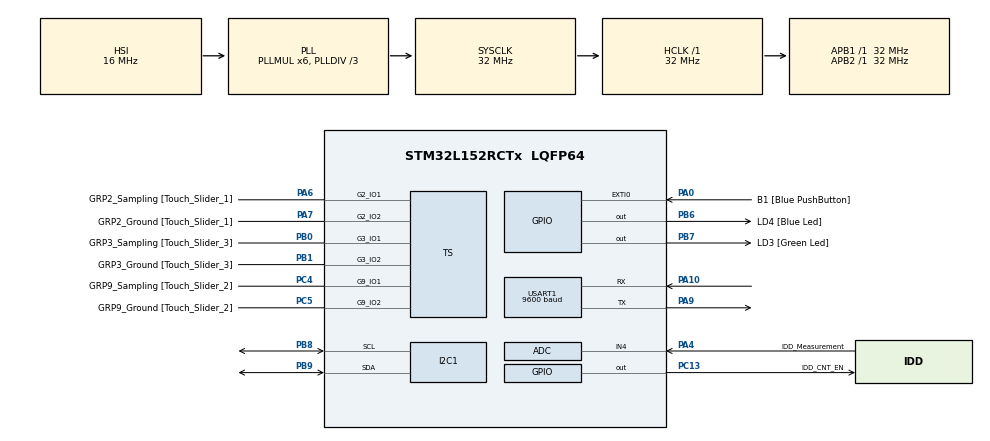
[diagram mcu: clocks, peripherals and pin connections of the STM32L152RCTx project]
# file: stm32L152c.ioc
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ADC.Channel=ADC_CHANNEL_4
ADC.Channel-0\#ChannelRegularConversion=ADC_CHANNEL_4
ADC.Channel-IN4=ADC_CHANNEL_4
ADC.ExternalTrigConv-0\#ChannelRegularConversion=ADC_SOFTWARE_START
ADC.Rank-0\#ChannelRegularConversion=1
ADC.SamplingTime-0\#ChannelRegularConversion=ADC_SAMPLETIME_4CYCLES
Mcu.Family=STM32L1
Mcu.Name=STM32L152RCTx
Mcu.Package=LQFP64
NVIC.PriorityGroup=NVIC_PRIORITYGROUP_0
PA0-WKUP1.GPIO_Label=B1 [Blue PushButton]
PA0-WKUP1.GPIO_ModeDefaultEXTI=GPIO_MODE_EVT_RISING
PA0-WKUP1.GPIO_PuPd=GPIO_NOPULL
PA0-WKUP1.Signal=GPXTI0
PA10.Mode=Asynchronous
PA10.Signal=USART1_RX
PA13.GPIO_Label=SWDIO
PA13.Mode=Serial_Wire
PA13.Signal=SYS_JTMS-SWDIO
PA14.GPIO_Label=SWCLK
PA14.Mode=Serial_Wire
PA14.Signal=SYS_JTCK-SWCLK
PA4.GPIO_Label=IDD_Measurement
PA4.GPIO_Mode=GPIO_MODE_ANALOG
PA4.GPIO_PuPd=GPIO_NOPULL
PA4.Mode=IN4
PA4.Signal=ADC_IN4
PA6.GPIO_Label=GRP2_Sampling [Touch_Slider_1]
PA6.Mode=G2_IO1-Sampling
PA6.Signal=TS_G2_IO1
PA7.GPIO_Label=GRP2_Ground [Touch_Slider_1]
PA7.Mode=G2_IO2-Channel
PA7.Signal=TS_G2_IO2
PA9.Mode=Asynchronous
PA9.Signal=USART1_TX
PB0.GPIO_Label=GRP3_Sampling [Touch_Slider_3]
PB0.Mode=G3_IO1-Sampling
PB0.Signal=TS_G3_IO1
PB1.GPIO_Label=GRP3_Ground [Touch_Slider_3]
PB1.Mode=G3_IO2-Channel
PB1.Signal=TS_G3_IO2
PB6.GPIO_Label=LD4 [Blue Led]
PB6.GPIO_ModeDefaultOutputPP=GPIO_MODE_OUTPUT_PP
PB6.GPIO_PuPd=GPIO_NOPULL
PB6.GPIO_Speed=GPIO_SPEED_FREQ_LOW
PB6.Signal=GPIO_Output
PB7.GPIO_Label=LD3 [Green Led]
PB7.GPIO_ModeDefaultOutputPP=GPIO_MODE_OUTPUT_PP
PB7.GPIO_PuPd=GPIO_NOPULL
PB7.GPIO_Speed=GPIO_SPEED_FREQ_LOW
PB7.Signal=GPIO_Output
PB8.Mode=I2C
PB8.Signal=I2C1_SCL
PB9.Mode=I2C
PB9.Signal=I2C1_SDA
PC13-WKUP2.GPIO_Label=IDD_CNT_EN
PC13-WKUP2.Signal=GPIO_Output
PC14-OSC32_IN.GPIO_Label=PC14-OSC32_IN
PC14-OSC32_IN.Mode=LSE-External-Oscillator
PC14-OSC32_IN.Signal=RCC_OSC32_IN
PC15-OSC32_OUT.GPIO_Label=PC15-OSC32_OUT
PC15-OSC32_OUT.Mode=LSE-External-Oscillator
PC15-OSC32_OUT.Signal=RCC_OSC32_OUT
PC4.GPIO_Label=GRP9_Sampling [Touch_Slider_2]
PC4.Mode=G9_IO1-Sampling
PC4.Signal=TS_G9_IO1
PC5.GPIO_Label=GRP9_Ground [Touch_Slider_2]
PC5.Mode=G9_IO2-Channel
PC5.Signal=TS_G9_IO2
ProjectManager.HeapSize=0x200
ProjectManager.StackSize=0x400
ProjectManager.TargetToolchain=SW4STM32
RCC.AHBFreq_Value=32000000
RCC.APB1Freq_Value=32000000
RCC.APB1TimFreq_Value=32000000
RCC.APB2Freq_Value=32000000
RCC.APB2TimFreq_Value=32000000
RCC.HCLKFreq_Value=32000000
RCC.HSE_VALUE=8000000
RCC.HSI_VALUE=16000000
RCC.MSI_VALUE=2097000
RCC.PLLDIV=RCC_PLL_DIV3
RCC.PLLMUL=RCC_PLL_MUL6
RCC.RTCClockSelectionVirtual=RCC_RTCCLKSOURCE_LSE
RCC.SYSCLKFreq_VALUE=32000000
RCC.SYSCLKSource=RCC_SYSCLKSOURCE_PLLCLK
RCC.USBOutput=48000000
RCC.VCOOutputFreq_Value=96000000
USART1.BaudRate=9600
board=STM32L152C-DISCO

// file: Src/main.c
/**
  ******************************************************************************
  * File Name          : main.c
  * Description        : Main program body
  ******************************************************************************
  *
  * COPYRIGHT(c) 2016 STMicroelectronics
  *
  * Redistribution and use in source and binary forms, with or without modification,
  * are permitted provided that the following conditions are met:
  *   1. Redistributions of source code must retain the above copyright notice,
  *      this list of conditions and the following disclaimer.
  *   2. Redistributions in binary form must reproduce the above copyright notice,
  *      this list of conditions and the following disclaimer in the documentation
  *      and/or other materials provided with the distribution.
  *   3. Neither the name of STMicroelectronics nor the names of its contributors
  *      may be used to endorse or promote products derived from this software
  *      without specific prior written permission.
  *
  * THIS SOFTWARE IS PROVIDED BY THE COPYRIGHT HOLDERS AND CONTRIBUTORS "AS IS"
  * AND ANY EXPRESS OR IMPLIED WARRANTIES, INCLUDING, BUT NOT LIMITED TO, THE
  * IMPLIED WARRANTIES OF MERCHANTABILITY AND FITNESS FOR A PARTICULAR PURPOSE ARE
  * DISCLAIMED. IN NO EVENT SHALL THE COPYRIGHT HOLDER OR CONTRIBUTORS BE LIABLE
  * FOR ANY DIRECT, INDIRECT, INCIDENTAL, SPECIAL, EXEMPLARY, OR CONSEQUENTIAL
  * DAMAGES (INCLUDING, BUT NOT LIMITED TO, PROCUREMENT OF SUBSTITUTE GOODS OR
  * SERVICES; LOSS OF USE, DATA, OR PROFITS; OR BUSINESS INTERRUPTION) HOWEVER
  * CAUSED AND ON ANY THEORY OF LIABILITY, WHETHER IN CONTRACT, STRICT LIABILITY,
  * OR TORT (INCLUDING NEGLIGENCE OR OTHERWISE) ARISING IN ANY WAY OUT OF THE USE
  * OF THIS SOFTWARE, EVEN IF ADVISED OF THE POSSIBILITY OF SUCH DAMAGE.
  *
  ******************************************************************************
  */
#include "stm32l1xx_hal.h"

/* USER CODE BEGIN Includes */
#include <app1.h>
#include "discover_functions.h"
/* USER CODE END Includes */

ADC_HandleTypeDef hadc;

I2C_HandleTypeDef hi2c1;

UART_HandleTypeDef huart1;

/* USER CODE BEGIN PV */
/* Private variables ---------------------------------------------------------*/

/* USER CODE END PV */

void SystemClock_Config(void);
void Error_Handler(void);
static void MX_GPIO_Init(void);
static void MX_ADC_Init(void);
static void MX_TS_Init(void);
static void MX_USART1_UART_Init(void);
static void MX_I2C1_Init(void);

/* USER CODE BEGIN PFP */
/* Private function prototypes -----------------------------------------------*/

/* USER CODE END PFP */

/* USER CODE BEGIN 0 */
void _exit(int a){
	while(1){};
}

#include <errno.h>
#include <sys/types.h>
extern caddr_t _end, _stackend;

caddr_t _sbrk(int nbytes) {
    static caddr_t heap_ptr = NULL;
    caddr_t base;
    if (heap_ptr == NULL) {
        heap_ptr = (caddr_t) & _end;
    }
    if ((caddr_t) & _stackend > heap_ptr + nbytes) {
        base = heap_ptr;
        heap_ptr += nbytes;
        return (base);
    } else {
        errno = ENOMEM;
        return ((caddr_t) - 1);
    }

}
/* USER CODE END 0 */

int main(void)
{

  /* MCU Configuration----------------------------------------------------------*/

  /* Reset of all peripherals, Initializes the Flash interface and the Systick. */
  HAL_Init();

  /* Configure the system clock */
  SystemClock_Config();

  /* Initialize all configured peripherals */
  MX_GPIO_Init();
  MX_ADC_Init();
  MX_TS_Init();
  MX_USART1_UART_Init();
  MX_I2C1_Init();

  /* Infinite loop */
  /* USER CODE BEGIN WHILE */
  static uint32_t percent_value = 0;
  while (1)
  {
    app1_main(&huart1);

    uint16_t Message[6];
    Message[0] = ' ';
    Message[1] = ' ';
    Message[2] = ' ';

    /* get Slider position and convert it in percent*/
    percent_value++;
    /*Convert percent value in char and store it in message*/
    //convert_into_char(percent_value, Message);
    /*Add "%" in message*/
    //  Message[3] = '�' ;
    //  Message[4] = '/' ;
    //  Message[5] = '%' ;
    /*Display message*/
    //LCD_GLASS_DisplayStrDeci(&hlcd, Message);

  /* USER CODE END WHILE */

  }

}

/** System Clock Configuration
*/
void SystemClock_Config(void)
{

  RCC_OscInitTypeDef RCC_OscInitStruct;
  RCC_ClkInitTypeDef RCC_ClkInitStruct;

  __HAL_RCC_PWR_CLK_ENABLE();

  __HAL_PWR_VOLTAGESCALING_CONFIG(PWR_REGULATOR_VOLTAGE_SCALE1);

  RCC_OscInitStruct.OscillatorType = RCC_OSCILLATORTYPE_HSI;
  RCC_OscInitStruct.HSIState = RCC_HSI_ON;
  RCC_OscInitStruct.HSICalibrationValue = 16;
  RCC_OscInitStruct.PLL.PLLState = RCC_PLL_ON;
  RCC_OscInitStruct.PLL.PLLSource = RCC_PLLSOURCE_HSI;
  RCC_OscInitStruct.PLL.PLLMUL = RCC_PLL_MUL6;
  RCC_OscInitStruct.PLL.PLLDIV = RCC_PLL_DIV3;
  if (HAL_RCC_OscConfig(&RCC_OscInitStruct) != HAL_OK)
  {
    Error_Handler();
  }

  RCC_ClkInitStruct.ClockType = RCC_CLOCKTYPE_HCLK|RCC_CLOCKTYPE_SYSCLK
                              |RCC_CLOCKTYPE_PCLK1|RCC_CLOCKTYPE_PCLK2;
  RCC_ClkInitStruct.SYSCLKSource = RCC_SYSCLKSOURCE_PLLCLK;
  RCC_ClkInitStruct.AHBCLKDivider = RCC_SYSCLK_DIV1;
  RCC_ClkInitStruct.APB1CLKDivider = RCC_HCLK_DIV1;
  RCC_ClkInitStruct.APB2CLKDivider = RCC_HCLK_DIV1;
  if (HAL_RCC_ClockConfig(&RCC_ClkInitStruct, FLASH_LATENCY_1) != HAL_OK)
  {
    Error_Handler();
  }

  HAL_SYSTICK_Config(HAL_RCC_GetHCLKFreq()/1000);

  HAL_SYSTICK_CLKSourceConfig(SYSTICK_CLKSOURCE_HCLK);

  /* SysTick_IRQn interrupt configuration */
  HAL_NVIC_SetPriority(SysTick_IRQn, 0, 0);
}

/* ADC init function */
static void MX_ADC_Init(void)
{

  ADC_ChannelConfTypeDef sConfig;

    /**Configure the global features of the ADC (Clock, Resolution, Data Alignment and number of conversion)
    */
  hadc.Instance = ADC1;
  hadc.Init.ClockPrescaler = ADC_CLOCK_ASYNC_DIV1;
  hadc.Init.Resolution = ADC_RESOLUTION_12B;
  hadc.Init.DataAlign = ADC_DATAALIGN_RIGHT;
  hadc.Init.ScanConvMode = ADC_SCAN_DISABLE;
  hadc.Init.EOCSelection = ADC_EOC_SEQ_CONV;
  hadc.Init.LowPowerAutoWait = ADC_AUTOWAIT_DISABLE;
  hadc.Init.LowPowerAutoPowerOff = ADC_AUTOPOWEROFF_DISABLE;
  hadc.Init.ChannelsBank = ADC_CHANNELS_BANK_A;
  hadc.Init.ContinuousConvMode = DISABLE;
  hadc.Init.NbrOfConversion = 1;
  hadc.Init.DiscontinuousConvMode = DISABLE;
  hadc.Init.ExternalTrigConv = ADC_SOFTWARE_START;
  hadc.Init.ExternalTrigConvEdge = ADC_EXTERNALTRIGCONVEDGE_NONE;
  hadc.Init.DMAContinuousRequests = DISABLE;
  if (HAL_ADC_Init(&hadc) != HAL_OK)
  {
    Error_Handler();
  }

    /**Configure for the selected ADC regular channel its corresponding rank in the sequencer and its sample time.
    */
  sConfig.Channel = ADC_CHANNEL_4;
  sConfig.Rank = 1;
  sConfig.SamplingTime = ADC_SAMPLETIME_4CYCLES;
  if (HAL_ADC_ConfigChannel(&hadc, &sConfig) != HAL_OK)
  {
    Error_Handler();
  }

}

/* I2C1 init function */
static void MX_I2C1_Init(void)
{

  hi2c1.Instance = I2C1;
  hi2c1.Init.ClockSpeed = 100000;
  hi2c1.Init.DutyCycle = I2C_DUTYCYCLE_2;
  hi2c1.Init.OwnAddress1 = 0;
  hi2c1.Init.AddressingMode = I2C_ADDRESSINGMODE_7BIT;
  hi2c1.Init.DualAddressMode = I2C_DUALADDRESS_DISABLE;
  hi2c1.Init.OwnAddress2 = 0;
  hi2c1.Init.GeneralCallMode = I2C_GENERALCALL_DISABLE;
  hi2c1.Init.NoStretchMode = I2C_NOSTRETCH_DISABLE;
  if (HAL_I2C_Init(&hi2c1) != HAL_OK)
  {
    Error_Handler();
  }

}

/* TS init function */
static void MX_TS_Init(void)
{

}

/* USART1 init function */
static void MX_USART1_UART_Init(void)
{

  huart1.Instance = USART1;
  huart1.Init.BaudRate = 9600;
  huart1.Init.WordLength = UART_WORDLENGTH_8B;
  huart1.Init.StopBits = UART_STOPBITS_1;
  huart1.Init.Parity = UART_PARITY_NONE;
  huart1.Init.Mode = UART_MODE_TX_RX;
  huart1.Init.HwFlowCtl = UART_HWCONTROL_NONE;
  huart1.Init.OverSampling = UART_OVERSAMPLING_16;
  if (HAL_UART_Init(&huart1) != HAL_OK)
  {
    Error_Handler();
  }

}

/** Configure pins as
        * Analog
        * Input
        * Output
        * EVENT_OUT
        * EXTI
     PA6   ------> TS_G2_IO1
     PA7   ------> TS_G2_IO2
     PC4   ------> TS_G9_IO1
     PC5   ------> TS_G9_IO2
     PB0   ------> TS_G3_IO1
     PB1   ------> TS_G3_IO2
*/
static void MX_GPIO_Init(void)
{

  GPIO_InitTypeDef GPIO_InitStruct;

  /* GPIO Ports Clock Enable */
  __HAL_RCC_GPIOC_CLK_ENABLE();
  __HAL_RCC_GPIOA_CLK_ENABLE();
  __HAL_RCC_GPIOB_CLK_ENABLE();

  /*Configure GPIO pin Output Level */
  HAL_GPIO_WritePin(IDD_CNT_EN_GPIO_Port, IDD_CNT_EN_Pin, GPIO_PIN_RESET);

  /*Configure GPIO pin Output Level */
  HAL_GPIO_WritePin(GPIOB, LD4_Pin|LD3_Pin, GPIO_PIN_RESET);

  /*Configure GPIO pin : IDD_CNT_EN_Pin */
  GPIO_InitStruct.Pin = IDD_CNT_EN_Pin;
  GPIO_InitStruct.Mode = GPIO_MODE_OUTPUT_PP;
  GPIO_InitStruct.Pull = GPIO_NOPULL;
  GPIO_InitStruct.Speed = GPIO_SPEED_FREQ_LOW;
  HAL_GPIO_Init(IDD_CNT_EN_GPIO_Port, &GPIO_InitStruct);

  /*Configure GPIO pin : B1_Pin */
  GPIO_InitStruct.Pin = B1_Pin;
  GPIO_InitStruct.Mode = GPIO_MODE_EVT_RISING;
  GPIO_InitStruct.Pull = GPIO_NOPULL;
  HAL_GPIO_Init(B1_GPIO_Port, &GPIO_InitStruct);

  /*Configure GPIO pins : GRP2_Sampling_Pin GRP2_Ground_Pin */
  GPIO_InitStruct.Pin = GRP2_Sampling_Pin|GRP2_Ground_Pin;
  GPIO_InitStruct.Mode = GPIO_MODE_ANALOG;
  GPIO_InitStruct.Pull = GPIO_NOPULL;
  HAL_GPIO_Init(GPIOA, &GPIO_InitStruct);

  /*Configure GPIO pins : GRP9_Sampling_Pin GRP9_Ground_Pin */
  GPIO_InitStruct.Pin = GRP9_Sampling_Pin|GRP9_Ground_Pin;
  GPIO_InitStruct.Mode = GPIO_MODE_ANALOG;
  GPIO_InitStruct.Pull = GPIO_NOPULL;
  HAL_GPIO_Init(GPIOC, &GPIO_InitStruct);

  /*Configure GPIO pins : GRP3_Sampling_Pin GRP3_Ground_Pin */
  GPIO_InitStruct.Pin = GRP3_Sampling_Pin|GRP3_Ground_Pin;
  GPIO_InitStruct.Mode = GPIO_MODE_ANALOG;
  GPIO_InitStruct.Pull = GPIO_NOPULL;
  HAL_GPIO_Init(GPIOB, &GPIO_InitStruct);

  /*Configure GPIO pins : LD4_Pin LD3_Pin */
  GPIO_InitStruct.Pin = LD4_Pin|LD3_Pin;
  GPIO_InitStruct.Mode = GPIO_MODE_OUTPUT_PP;
  GPIO_InitStruct.Pull = GPIO_NOPULL;
  GPIO_InitStruct.Speed = GPIO_SPEED_FREQ_LOW;
  HAL_GPIO_Init(GPIOB, &GPIO_InitStruct);

}

void Error_Handler(void)
{
  while(1)
  {
  }
}

/************************ (C) COPYRIGHT STMicroelectronics *****END OF FILE****/
